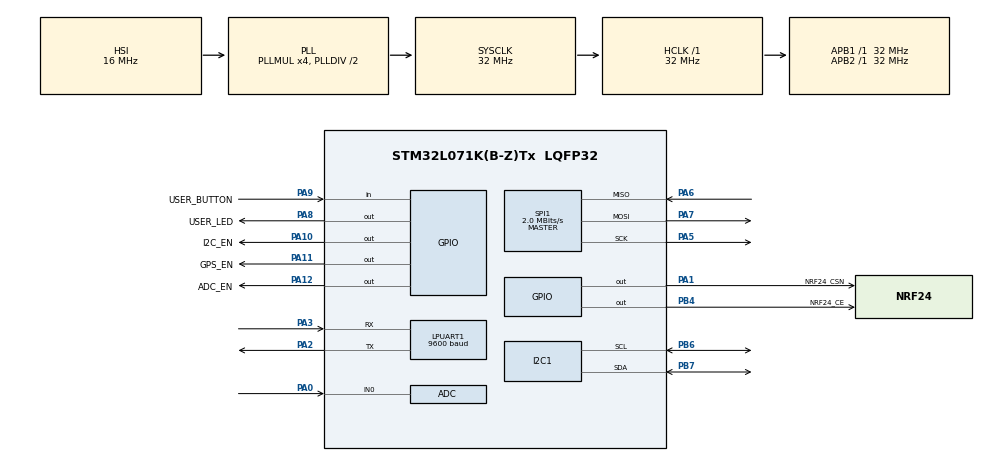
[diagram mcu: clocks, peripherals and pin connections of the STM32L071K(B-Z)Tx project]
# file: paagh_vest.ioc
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ADC.ContinuousConvMode=ENABLE
ADC.DMAContinuousRequests=ENABLE
ADC.SamplingTime=ADC_SAMPLETIME_160CYCLES_5
Dma.ADC.0.Direction=DMA_PERIPH_TO_MEMORY
Dma.ADC.0.Instance=DMA1_Channel1
Dma.ADC.0.MemDataAlignment=DMA_MDATAALIGN_WORD
Dma.ADC.0.MemInc=DMA_MINC_ENABLE
Dma.ADC.0.Mode=DMA_CIRCULAR
Dma.ADC.0.PeriphDataAlignment=DMA_PDATAALIGN_WORD
Dma.ADC.0.PeriphInc=DMA_PINC_DISABLE
Dma.ADC.0.Priority=DMA_PRIORITY_LOW
Dma.Request0=ADC
I2C1.Timing=0x00707CBB
LPUART1.BaudRate=9600
LPUART1.WordLength=UART_WORDLENGTH_8B
Mcu.Family=STM32L0
Mcu.Name=STM32L071K(B-Z)Tx
Mcu.Package=LQFP32
NVIC.DMA1_Channel1_IRQn=true\:0\:0\:false\:false\:true\:false\:true\:true
NVIC.LPUART1_IRQn=true\:0\:0\:false\:false\:true\:true\:true\:true
NVIC.TIM6_IRQn=true\:0\:0\:false\:false\:true\:true\:true\:true
PA0.Mode=IN0
PA0.Signal=ADC_IN0
PA1.GPIO_Label=NRF24_CSN
PA1.Signal=GPIO_Output
PA10.GPIO_Label=I2C_EN
PA10.Signal=GPIO_Output
PA11.GPIO_Label=GPS_EN
PA11.Signal=GPIO_Output
PA12.GPIO_Label=ADC_EN
PA12.Signal=GPIO_Output
PA13.Mode=Serial_Wire
PA13.Signal=SYS_SWDIO
PA14.Mode=Serial_Wire
PA14.Signal=SYS_SWCLK
PA2.Mode=Asynchronous
PA2.Signal=LPUART1_TX
PA3.Mode=Asynchronous
PA3.Signal=LPUART1_RX
PA5.Mode=Full_Duplex_Master
PA5.Signal=SPI1_SCK
PA6.Mode=Full_Duplex_Master
PA6.Signal=SPI1_MISO
PA7.Mode=Full_Duplex_Master
PA7.Signal=SPI1_MOSI
PA8.GPIO_Label=USER_LED
PA8.Signal=GPIO_Output
PA9.GPIO_Label=USER_BUTTON
PA9.Signal=GPIO_Input
PB4.GPIO_Label=NRF24_CE
PB4.Signal=GPIO_Output
PB6.Mode=I2C
PB6.Signal=I2C1_SCL
PB7.Mode=I2C
PB7.Signal=I2C1_SDA
ProjectManager.HeapSize=0x200
ProjectManager.StackSize=0x400
ProjectManager.TargetToolchain=CMake
RCC.AHBFreq_Value=32000000
RCC.APB1Freq_Value=32000000
RCC.APB1TimFreq_Value=32000000
RCC.APB2Freq_Value=32000000
RCC.APB2TimFreq_Value=32000000
RCC.HCLKFreq_Value=32000000
RCC.HSI16_VALUE=16000000
RCC.HSI_VALUE=16000000
RCC.LSE_VALUE=32768
RCC.MSI_VALUE=2097000
RCC.PLLMUL=RCC_PLLMUL_4
RCC.SYSCLKFreq_VALUE=32000000
RCC.SYSCLKSource=RCC_SYSCLKSOURCE_PLLCLK
RCC.VCOOutputFreq_Value=64000000
SPI1.BaudRatePrescaler=SPI_BAUDRATEPRESCALER_16
SPI1.CalculateBaudRate=2.0 MBits/s
SPI1.Direction=SPI_DIRECTION_2LINES
SPI1.Mode=SPI_MODE_MASTER
SPI1.VirtualType=VM_MASTER
TIM6.Period=9999
TIM6.Prescaler=3199
VP_TIM6_VS_ClockSourceINT.Mode=Enable_Timer
board=custom

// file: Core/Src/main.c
/* USER CODE BEGIN Header */
/**
  ******************************************************************************
  * @file           : main.c
  * @brief          : Main program body
  ******************************************************************************
  * @attention
  *
  * Copyright (c) 2024 STMicroelectronics.
  * All rights reserved.
  *
  * This software is licensed under terms that can be found in the LICENSE file
  * in the root directory of this software component.
  * If no LICENSE file comes with this software, it is provided AS-IS.
  *
  ******************************************************************************
  */
/* USER CODE END Header */
#include "main.h"
#include "adc.h"
#include "dma.h"
#include "i2c.h"
#include "usart.h"
#include "spi.h"
#include "tim.h"
#include "gpio.h"

/* USER CODE BEGIN Includes */

#include <string.h>
#include <stdio.h>
#include <stdbool.h>
#include <AHT20.h>
#include <NEO6.h>
#include <nRF24.h>

/* USER CODE END Includes */

void SystemClock_Config(void);

/* USER CODE BEGIN 0 */

NEO6_State GpsState;

uint8_t Message[64];
uint8_t MessageLength;
bool ADC_EN = false;
bool GPS_EN = false;
bool I2C_EN = false;

volatile uint8_t Uart2ReceivedChar;
volatile float Temp = 0.0f;
volatile float Hum = 0.0f;
volatile uint32_t HeartBeatValue;

void HAL_UART_RxCpltCallback(UART_HandleTypeDef *huart)
{
  if(huart == GpsState.neo6_huart)
  {
    NEO6_ReceiveUartChar(&GpsState);
  }
}

void HAL_TIM_PeriodElapsedCallback(TIM_HandleTypeDef *htim)
{
  if (htim == &htim6) {
    AHT20_Read(&Temp, &Hum); // reads AHT20 measurements every second
    printf("Temperature = %.1fC\n Hum = %.1f\n", Temp, Hum);
  }
}

/* USER CODE END 0 */

int main(void)
{

  /* MCU Configuration--------------------------------------------------------*/

  /* Reset of all peripherals, Initializes the Flash interface and the Systick. */
  HAL_Init();

  /* Configure the system clock */
  SystemClock_Config();

  /* Initialize all configured peripherals */
  MX_GPIO_Init();
  MX_DMA_Init();
  MX_ADC_Init();
  MX_SPI1_Init();
  MX_I2C1_Init();
  MX_LPUART1_UART_Init();
  MX_TIM6_Init();

  /* Infinite loop */
  /* USER CODE BEGIN WHILE */
  AHT20_Init();
  NEO6_Init(&GpsState, &hlpuart1);
  HAL_TIM_Base_Start_IT(&htim6);

  uint32_t Timer = HAL_GetTick();
  HAL_ADCEx_Calibration_Start(&hadc, ADC_SINGLE_ENDED);
  HAL_ADC_Start_DMA(&hadc, (uint32_t*)&HeartBeatValue, 2);
  while (1)
  {
    /* USER CODE END WHILE */

  }
}

void SystemClock_Config(void)
{
  RCC_OscInitTypeDef RCC_OscInitStruct = {0};
  RCC_ClkInitTypeDef RCC_ClkInitStruct = {0};
  RCC_PeriphCLKInitTypeDef PeriphClkInit = {0};

  /** Configure the main internal regulator output voltage
  */
  __HAL_PWR_VOLTAGESCALING_CONFIG(PWR_REGULATOR_VOLTAGE_SCALE1);

  /** Initializes the RCC Oscillators according to the specified parameters
  * in the RCC_OscInitTypeDef structure.
  */
  RCC_OscInitStruct.OscillatorType = RCC_OSCILLATORTYPE_HSI;
  RCC_OscInitStruct.HSIState = RCC_HSI_ON;
  RCC_OscInitStruct.HSICalibrationValue = RCC_HSICALIBRATION_DEFAULT;
  RCC_OscInitStruct.PLL.PLLState = RCC_PLL_ON;
  RCC_OscInitStruct.PLL.PLLSource = RCC_PLLSOURCE_HSI;
  RCC_OscInitStruct.PLL.PLLMUL = RCC_PLLMUL_4;
  RCC_OscInitStruct.PLL.PLLDIV = RCC_PLLDIV_2;
  if (HAL_RCC_OscConfig(&RCC_OscInitStruct) != HAL_OK)
  {
    Error_Handler();
  }

  /** Initializes the CPU, AHB and APB buses clocks
  */
  RCC_ClkInitStruct.ClockType = RCC_CLOCKTYPE_HCLK|RCC_CLOCKTYPE_SYSCLK
                              |RCC_CLOCKTYPE_PCLK1|RCC_CLOCKTYPE_PCLK2;
  RCC_ClkInitStruct.SYSCLKSource = RCC_SYSCLKSOURCE_PLLCLK;
  RCC_ClkInitStruct.AHBCLKDivider = RCC_SYSCLK_DIV1;
  RCC_ClkInitStruct.APB1CLKDivider = RCC_HCLK_DIV1;
  RCC_ClkInitStruct.APB2CLKDivider = RCC_HCLK_DIV1;

  if (HAL_RCC_ClockConfig(&RCC_ClkInitStruct, FLASH_LATENCY_1) != HAL_OK)
  {
    Error_Handler();
  }
  PeriphClkInit.PeriphClockSelection = RCC_PERIPHCLK_LPUART1|RCC_PERIPHCLK_I2C1;
  PeriphClkInit.Lpuart1ClockSelection = RCC_LPUART1CLKSOURCE_PCLK1;
  PeriphClkInit.I2c1ClockSelection = RCC_I2C1CLKSOURCE_PCLK1;
  if (HAL_RCCEx_PeriphCLKConfig(&PeriphClkInit) != HAL_OK)
  {
    Error_Handler();
  }
}

void Error_Handler(void)
{
  __disable_irq();
  while (1)
  {
  }
}
